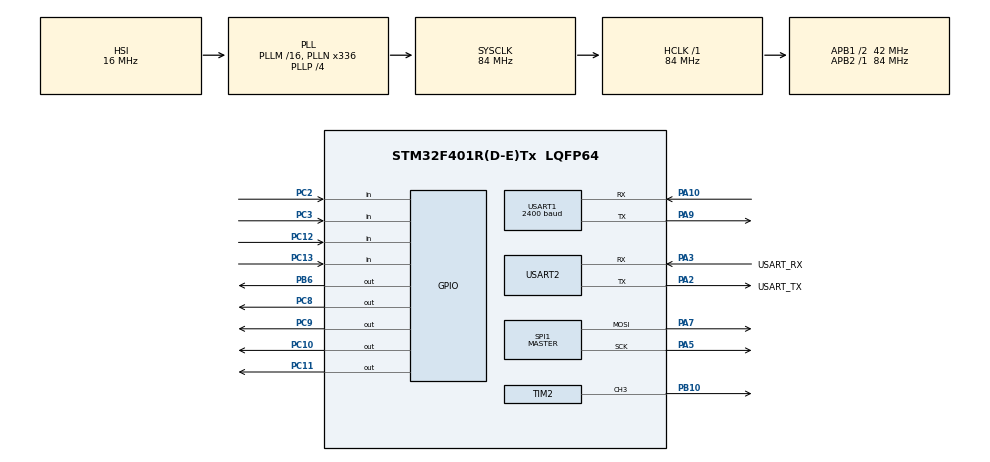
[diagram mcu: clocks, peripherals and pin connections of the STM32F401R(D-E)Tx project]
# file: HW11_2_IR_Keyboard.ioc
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Dma.Request0=SPI1_TX
Dma.SPI1_TX.0.Direction=DMA_MEMORY_TO_PERIPH
Dma.SPI1_TX.0.FIFOMode=DMA_FIFOMODE_DISABLE
Dma.SPI1_TX.0.Instance=DMA2_Stream3
Dma.SPI1_TX.0.MemDataAlignment=DMA_MDATAALIGN_BYTE
Dma.SPI1_TX.0.MemInc=DMA_MINC_ENABLE
Dma.SPI1_TX.0.Mode=DMA_NORMAL
Dma.SPI1_TX.0.PeriphDataAlignment=DMA_PDATAALIGN_BYTE
Dma.SPI1_TX.0.PeriphInc=DMA_PINC_DISABLE
Dma.SPI1_TX.0.Priority=DMA_PRIORITY_LOW
Mcu.Family=STM32F4
Mcu.Name=STM32F401R(D-E)Tx
Mcu.Package=LQFP64
NVIC.DMA2_Stream3_IRQn=true\:0\:0\:false\:false\:true\:false\:true\:true
NVIC.PriorityGroup=NVIC_PRIORITYGROUP_1
NVIC.SPI1_IRQn=true\:0\:0\:false\:false\:true\:true\:true\:true
NVIC.TIM1_UP_TIM10_IRQn=true\:0\:0\:false\:false\:true\:true\:true\:true
NVIC.TIM2_IRQn=true\:0\:0\:false\:false\:true\:true\:true\:true
NVIC.TIM3_IRQn=true\:0\:0\:false\:false\:true\:true\:true\:true
NVIC.TIM4_IRQn=true\:1\:0\:true\:false\:true\:true\:true\:true
NVIC.USART1_IRQn=true\:0\:0\:false\:false\:true\:true\:true\:true
NVIC.USART2_IRQn=true\:0\:0\:false\:false\:true\:true\:true\:true
PA10.Mode=Asynchronous
PA10.Signal=USART1_RX
PA13.GPIO_Label=TMS
PA13.Mode=Serial_Wire
PA13.Signal=SYS_JTMS-SWDIO
PA14.GPIO_Label=TCK
PA14.Mode=Serial_Wire
PA14.Signal=SYS_JTCK-SWCLK
PA2.GPIO_Label=USART_TX
PA2.GPIO_Mode=GPIO_MODE_AF_PP
PA2.GPIO_PuPd=GPIO_NOPULL
PA2.GPIO_Speed=GPIO_SPEED_FREQ_LOW
PA2.Mode=Asynchronous
PA2.Signal=USART2_TX
PA3.GPIO_Label=USART_RX
PA3.GPIO_Mode=GPIO_MODE_AF_PP
PA3.GPIO_PuPd=GPIO_NOPULL
PA3.GPIO_Speed=GPIO_SPEED_FREQ_LOW
PA3.Mode=Asynchronous
PA3.Signal=USART2_RX
PA5.Mode=TX_Only_Simplex_Unidirect_Master
PA5.Signal=SPI1_SCK
PA6.Signal=SPI1_MISO
PA7.Mode=TX_Only_Simplex_Unidirect_Master
PA7.Signal=SPI1_MOSI
PA9.Mode=Asynchronous
PA9.Signal=USART1_TX
PB10.Signal=S_TIM2_CH3
PB3.GPIO_Label=SWO
PB3.Signal=SYS_JTDO-SWO
PB6.Signal=GPIO_Output
PC10.Signal=GPIO_Output
PC11.Signal=GPIO_Output
PC12.Signal=GPIO_Input
PC13-ANTI_TAMP.Signal=GPIO_Input
PC14-OSC32_IN.Mode=LSE-External-Oscillator
PC14-OSC32_IN.Signal=RCC_OSC32_IN
PC15-OSC32_OUT.Mode=LSE-External-Oscillator
PC15-OSC32_OUT.Signal=RCC_OSC32_OUT
PC2.Signal=GPIO_Input
PC3.Signal=GPIO_Input
PC8.Signal=GPIO_Output
PC9.Signal=GPIO_Output
PH0\ -\ OSC_IN.Mode=HSE-External-Clock-Source
PH0\ -\ OSC_IN.Signal=RCC_OSC_IN
PH1\ -\ OSC_OUT.Mode=HSE-External-Clock-Source
PH1\ -\ OSC_OUT.Signal=RCC_OSC_OUT
ProjectManager.HeapSize=0x200
ProjectManager.StackSize=0x400
ProjectManager.TargetToolchain=STM32CubeIDE
RCC.48MHZClocksFreq_Value=48000000
RCC.AHBFreq_Value=84000000
RCC.APB1CLKDivider=RCC_HCLK_DIV2
RCC.APB1Freq_Value=42000000
RCC.APB1TimFreq_Value=84000000
RCC.APB2Freq_Value=84000000
RCC.APB2TimFreq_Value=84000000
RCC.CortexFreq_Value=84000000
RCC.HCLKFreq_Value=84000000
RCC.HSE_VALUE=8000000
RCC.HSI_VALUE=16000000
RCC.PLLN=336
RCC.PLLP=RCC_PLLP_DIV4
RCC.PLLQ=7
RCC.SYSCLKFreq_VALUE=84000000
RCC.SYSCLKSource=RCC_SYSCLKSOURCE_PLLCLK
RCC.VCOOutputFreq_Value=336000000
SH.S_TIM2_CH3.0=TIM2_CH3,PWM Generation3 CH3
SPI1.BaudRatePrescaler=SPI_BAUDRATEPRESCALER_4
SPI1.Direction=SPI_DIRECTION_2LINES
SPI1.Mode=SPI_MODE_MASTER
SPI1.VirtualType=VM_MASTER
TIM10.Period=4000
TIM10.Prescaler=84-1
TIM2.Channel-PWM\ Generation3\ CH3=TIM_CHANNEL_3
TIM2.OCMode_PWM-PWM\ Generation3\ CH3=TIM_OCMODE_PWM2
TIM2.Period=2211-1
TIM2.Prescaler=0
TIM2.Pulse-PWM\ Generation3\ CH3=1105
TIM3.Period=35000-1
TIM4.Period=4000
TIM4.Prescaler=84-1
USART1.BaudRate=2400
USART1.Mode=MODE_RX
USART1.VirtualMode=VM_ASYNC
USART2.VirtualMode=VM_ASYNC
VP_TIM10_VS_ClockSourceINT.Mode=Enable_Timer
VP_TIM2_VS_ClockSourceINT.Mode=Internal
VP_TIM3_VS_ClockSourceINT.Mode=Internal
VP_TIM4_VS_ClockSourceINT.Mode=Internal
board=NUCLEO-F401RE

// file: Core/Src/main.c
/* USER CODE BEGIN Header */
/**
  ******************************************************************************
  * @file           : main.c
  * @brief          : Main program body
  ******************************************************************************
  * @attention
  *
  * Copyright (c) 2022 STMicroelectronics.
  * All rights reserved.
  *
  * This software is licensed under terms that can be found in the LICENSE file
  * in the root directory of this software component.
  * If no LICENSE file comes with this software, it is provided AS-IS.
  *
  ******************************************************************************
  */
/* USER CODE END Header */
#include "main.h"

/* USER CODE BEGIN PD */
#define COL1 1
#define COL2 2
#define COL3 4
#define COL4 8
#define COL5 16

#define DEBOUNCE_TIME 1

//number of characters to be printed on the LED matrix
#define LENGTH 16

/* USER CODE END PD */

SPI_HandleTypeDef hspi1;
DMA_HandleTypeDef hdma_spi1_tx;

TIM_HandleTypeDef htim2;
TIM_HandleTypeDef htim3;
TIM_HandleTypeDef htim4;
TIM_HandleTypeDef htim10;

UART_HandleTypeDef huart1;
UART_HandleTypeDef huart2;

void SystemClock_Config(void);
static void MX_GPIO_Init(void);
static void MX_DMA_Init(void);
static void MX_USART2_UART_Init(void);
static void MX_TIM2_Init(void);
static void MX_TIM3_Init(void);
static void MX_USART1_UART_Init(void);
static void MX_TIM4_Init(void);
static void MX_SPI1_Init(void);
static void MX_TIM10_Init(void);

/* USER CODE BEGIN 0 */
/*
START : send a zero -> blink
STOP : send a 1 -> led off (no blinking)
TIM2CH3 -> 38kHz PWM, used to tranmsit '0'
TIM3 -> 2400 bps, handles IR transmission rate
TIM4 -> KEYBOARD_READOUT: generate pulse every 4 ms to scan the keyboard columns
TIM10 -> LED MATRIX: 4 s timer to switch between led matrix columns
*/

//KEYBOARD
//maps each key to his character
uint8_t keyboard_values[4][4] = {{0,1,2,3},{4,5,6,7},{8,9,10,11},{12,13,14,15}};

//Memorize all the used output pins: outputArray[0] = column0...
uint16_t outputArray[4] = {GPIO_PIN_8,GPIO_PIN_9,GPIO_PIN_10,GPIO_PIN_11};

//Memorize all used input pins: inputArray[0] = row0...
uint16_t inputArray[4] = {GPIO_PIN_12,GPIO_PIN_13,GPIO_PIN_2, GPIO_PIN_3};

uint32_t keypress[4][4];
uint32_t keypress_old[4][4];

//Memorize the debounce time for every button (1 by default)
uint16_t debounce_time[4][4];

int column;

//LED MATRIX
int led_columnIndex = 0;
//indicates the position in led_map of the character to show
int led_characterIndex = 0;

struct character{
	uint8_t row;
	uint8_t col;
};

struct character ZERO[] = {
	{62,COL1},
	{65,COL2},
	{65,COL3},
	{65,COL4},
	{62,COL5}
};

struct character ONE[] = {
	{0,COL1},
	{1,COL2},
	{127,COL3},
	{33,COL4},
	{0,COL5}
};

struct character TWO[] = {
	{49,COL1},
	{73,COL2},
	{69,COL3},
	{67,COL4},
	{49,COL5}
};

struct character THREE[] = {
	{62,COL1},
	{73,COL2},
	{73,COL3},
	{73,COL4},
	{0,COL5}
};

struct character FOUR[] = {
	{4,COL1},
	{127,COL2},
	{36,COL3},
	{20,COL4},
	{12,COL5}
};

struct character FIVE[] = {
	{70,COL1},
	{73,COL2},
	{73,COL3},
	{73,COL4},
	{121,COL5}
};

struct character SIX[] = {
	{70,COL1},
	{73,COL2},
	{73,COL3},
	{73,COL4},
	{62,COL5}
};

struct character SEVEN[] = {
	{8,COL1},
	{104,COL2},
	{95,COL3},
	{72,COL4},
	{72,COL5}
};

struct character EIGHT[] = {
	{54,COL1},
	{73,COL2},
	{73,COL3},
	{73,COL4},
	{54,COL5}
};

struct character NINE[] = {
	{63,COL1},
	{73,COL2},
	{73,COL3},
	{73,COL4},
	{49,COL5}
};

struct character A[] = {
	{31,COL1},
	{36,COL2},
	{68,COL3},
	{36,COL4},
	{31,COL5}
};

struct character B[] = {
	{62,COL1},
	{73,COL2},
	{73,COL3},
	{73,COL4},
	{127,COL5}
};

struct character C[] = {
	{65,COL1},
	{65,COL2},
	{65,COL3},
	{65,COL4},
	{62,COL5}
};
struct character D[] = {
	{62,COL1},
	{65,COL2},
	{65,COL3},
	{65,COL4},
	{127,COL5}
};
struct character E[] = {
	{73,COL1},
	{73,COL2},
	{73,COL3},
	{73,COL4},
	{127,COL5}
};
struct character F[] = {
	{72,COL1},
	{72,COL2},
	{72,COL3},
	{72,COL4},
	{127,COL5}
};

//collection of characters to be printed: led_map[0] -> show 0 on the led matrix...
struct character *led_map[LENGTH];

//8 bit received data
char receivedByte;

//flag that indicates when a baud period has elapsed
int elapsedBaud = 0;

void IRByteTransmit(char byte){

	int bits[8];
	//convert byte into bit
	//bits[0] = LSB
	for(int i = 0; i < 8; i++){
		if((byte & (0x01 << i)) == 0)
			//Send a zero
			bits[i] = 0;
		else
			//send a '1'
			bits[i] = 1;
	}

	  //Start the baud rate counter (2400bps)
	  elapsedBaud = 1;
	  HAL_TIM_Base_Start_IT(&htim3);
	  while(elapsedBaud == 0){
		  //wait one baud period to sync -> useful for the first transmission after startup
	  }

	  //transmit START signal ('0')
	  HAL_TIM_PWM_Start(&htim2, TIM_CHANNEL_3);
	  elapsedBaud = 0;
	  while(elapsedBaud == 0){
		  //wait for a baud period
	  }

	  //transmit the bits
	  for(int i = 0; i < 8; i ++){
		  if(bits[i] == 0){
			  //send a zero -> start PWM
			  HAL_TIM_PWM_Start(&htim2, TIM_CHANNEL_3);
		  }
		  else{
			  //send a '1' -> stop PWM
			  HAL_TIM_PWM_Stop(&htim2, TIM_CHANNEL_3);
		  }
		  elapsedBaud = 0;
		  while(elapsedBaud == 0){
			  //wait for a baud period
		  }
	  }

	  //Send the Stop bit '1'
	  HAL_TIM_PWM_Stop(&htim2, TIM_CHANNEL_3);
	  while(elapsedBaud == 0){
		  //wait for a baud period
	  }

	  //stop timer for baud rate
	  HAL_TIM_Base_Stop_IT(&htim3);
	  elapsedBaud = 0;

}

//Changes the character to print on the led matrix to the one received from usart1
void HAL_UART_RxCpltCallback(UART_HandleTypeDef *huart){

	if(huart == &huart1){
		//Return waiting for incoming transmissions
		HAL_UART_Receive_IT(&huart1, (uint8_t*)&receivedByte, 1);

		//Save received data
		char RX = receivedByte;

		//set the character to show on the LED matrix
		led_characterIndex = RX;

		/*int len;
		char str[64];	//tramsit UART2 to check
		len = snprintf(str, sizeof(str), "Button pressed: %x \r\n", RX);
		HAL_UART_Transmit(&huart2, str, len, 50);
		*/
	}
}

void HAL_TIM_PeriodElapsedCallback(TIM_HandleTypeDef *htim){

	if(htim == &htim3){		//baud rate timer
		elapsedBaud = 1;
	}

	if(htim == &htim10){	//change column on led matrix
		HAL_SPI_Transmit_DMA(&hspi1,(uint8_t*)(led_map[led_characterIndex] + led_columnIndex) , 2);
	}

	if(htim == &htim4){		//read keyboard column timer, TIM4 has priority set to 1 (lower)
		//scan through rows
	  for(int row = 0; row < 4; row ++){
			if(debounce_time[row][column] == 0){
				//if the debounce time for this button has ended
				//read and store the state of the button: 1->pressed, 0-> not pressed
				if(HAL_GPIO_ReadPin(GPIOC, inputArray[row]) == SET)
					keypress[row][column] = 0;
				else
					keypress[row][column] = 1;

				//if the state of the button has changed from the previous one
				if(keypress[row][column] != keypress_old[row][column]){

					//if the button toggled from 0 to 1 then transmit the character
					if(keypress[row][column] == 1){
						IRByteTransmit(keyboard_values[row][column]);
					}

					//update the old keypress
					keypress_old[row][column] = keypress[row][column];

					//reset debounce for the updated button
					debounce_time[row][column] = DEBOUNCE_TIME;
				}
			}
			else{
				//decrease debounce time
				debounce_time[row][column]--;
			}
		}
		//turn off the column
		HAL_GPIO_WritePin(GPIOC, outputArray[column],RESET);

		//update the column index
		if(column == 3)
			column = 0;
		else
			column++;

		//turn on the new column
		HAL_GPIO_WritePin(GPIOC, outputArray[column],SET);
	}

}

void HAL_SPI_TxCpltCallback(SPI_HandleTypeDef *hspi)
{
	if(hspi == &hspi1){
		//set after SPI transmission
		HAL_GPIO_WritePin(GPIOB, GPIO_PIN_6, 1);

		if(led_columnIndex == 4)
			led_columnIndex = 0;
		else
			led_columnIndex ++;

		//reset (pulse)
		HAL_GPIO_WritePin(GPIOB, GPIO_PIN_6, 0);
		//restart timer
		HAL_TIM_Base_Start_IT(&htim10);

	}
}

/* USER CODE END 0 */

int main(void)
{

  /* MCU Configuration--------------------------------------------------------*/

  /* Reset of all peripherals, Initializes the Flash interface and the Systick. */
  HAL_Init();

  /* Configure the system clock */
  SystemClock_Config();

  /* Initialize all configured peripherals */
  MX_GPIO_Init();
  MX_DMA_Init();
  MX_USART2_UART_Init();
  MX_TIM2_Init();
  MX_TIM3_Init();
  MX_USART1_UART_Init();
  MX_TIM4_Init();
  MX_SPI1_Init();
  MX_TIM10_Init();
  /* USER CODE BEGIN 2 */

  //set the encoding for received characters
  led_map[0] = ZERO;
  led_map[1] = ONE;
  led_map[2] = TWO;
  led_map[3] = THREE;
  led_map[4] = FOUR;
  led_map[5] = FIVE;
  led_map[6] = SIX;
  led_map[7] = SEVEN;
  led_map[8] = EIGHT;
  led_map[9] = NINE;
  led_map[10] = A;
  led_map[11] = B;
  led_map[12] = C;
  led_map[13] = D;
  led_map[14] = E;
  led_map[15] = F;

  //start LED column timer
  HAL_TIM_Base_Start_IT(&htim10);

  //Init keyboard
  HAL_GPIO_WritePin(GPIOC, outputArray[0], SET);
  HAL_GPIO_WritePin(GPIOC, outputArray[1], RESET);
  HAL_GPIO_WritePin(GPIOC, outputArray[2], RESET);
  HAL_GPIO_WritePin(GPIOC, outputArray[3], RESET);
  //start keyboard column timer
  HAL_TIM_Base_Start_IT(&htim4);

  //enable receiving
  HAL_UART_Receive_IT(&huart1, (uint8_t*)&receivedByte, 1);

  /* USER CODE END 2 */

  /* Infinite loop */
  while (1)
  {

  }
}

void SystemClock_Config(void)
{
  RCC_OscInitTypeDef RCC_OscInitStruct = {0};
  RCC_ClkInitTypeDef RCC_ClkInitStruct = {0};

  /** Configure the main internal regulator output voltage
  */
  __HAL_RCC_PWR_CLK_ENABLE();
  __HAL_PWR_VOLTAGESCALING_CONFIG(PWR_REGULATOR_VOLTAGE_SCALE2);

  /** Initializes the RCC Oscillators according to the specified parameters
  * in the RCC_OscInitTypeDef structure.
  */
  RCC_OscInitStruct.OscillatorType = RCC_OSCILLATORTYPE_HSI;
  RCC_OscInitStruct.HSIState = RCC_HSI_ON;
  RCC_OscInitStruct.HSICalibrationValue = RCC_HSICALIBRATION_DEFAULT;
  RCC_OscInitStruct.PLL.PLLState = RCC_PLL_ON;
  RCC_OscInitStruct.PLL.PLLSource = RCC_PLLSOURCE_HSI;
  RCC_OscInitStruct.PLL.PLLM = 16;
  RCC_OscInitStruct.PLL.PLLN = 336;
  RCC_OscInitStruct.PLL.PLLP = RCC_PLLP_DIV4;
  RCC_OscInitStruct.PLL.PLLQ = 7;
  if (HAL_RCC_OscConfig(&RCC_OscInitStruct) != HAL_OK)
  {
    Error_Handler();
  }

  /** Initializes the CPU, AHB and APB buses clocks
  */
  RCC_ClkInitStruct.ClockType = RCC_CLOCKTYPE_HCLK|RCC_CLOCKTYPE_SYSCLK
                              |RCC_CLOCKTYPE_PCLK1|RCC_CLOCKTYPE_PCLK2;
  RCC_ClkInitStruct.SYSCLKSource = RCC_SYSCLKSOURCE_PLLCLK;
  RCC_ClkInitStruct.AHBCLKDivider = RCC_SYSCLK_DIV1;
  RCC_ClkInitStruct.APB1CLKDivider = RCC_HCLK_DIV2;
  RCC_ClkInitStruct.APB2CLKDivider = RCC_HCLK_DIV1;

  if (HAL_RCC_ClockConfig(&RCC_ClkInitStruct, FLASH_LATENCY_2) != HAL_OK)
  {
    Error_Handler();
  }
}

static void MX_SPI1_Init(void)
{

  /* SPI1 parameter configuration*/
  hspi1.Instance = SPI1;
  hspi1.Init.Mode = SPI_MODE_MASTER;
  hspi1.Init.Direction = SPI_DIRECTION_2LINES;
  hspi1.Init.DataSize = SPI_DATASIZE_8BIT;
  hspi1.Init.CLKPolarity = SPI_POLARITY_LOW;
  hspi1.Init.CLKPhase = SPI_PHASE_1EDGE;
  hspi1.Init.NSS = SPI_NSS_SOFT;
  hspi1.Init.BaudRatePrescaler = SPI_BAUDRATEPRESCALER_4;
  hspi1.Init.FirstBit = SPI_FIRSTBIT_MSB;
  hspi1.Init.TIMode = SPI_TIMODE_DISABLE;
  hspi1.Init.CRCCalculation = SPI_CRCCALCULATION_DISABLE;
  hspi1.Init.CRCPolynomial = 10;
  if (HAL_SPI_Init(&hspi1) != HAL_OK)
  {
    Error_Handler();
  }

}

static void MX_TIM2_Init(void)
{

  TIM_ClockConfigTypeDef sClockSourceConfig = {0};
  TIM_MasterConfigTypeDef sMasterConfig = {0};
  TIM_OC_InitTypeDef sConfigOC = {0};

  htim2.Instance = TIM2;
  htim2.Init.Prescaler = 0;
  htim2.Init.CounterMode = TIM_COUNTERMODE_UP;
  htim2.Init.Period = 2211-1;
  htim2.Init.ClockDivision = TIM_CLOCKDIVISION_DIV1;
  htim2.Init.AutoReloadPreload = TIM_AUTORELOAD_PRELOAD_DISABLE;
  if (HAL_TIM_Base_Init(&htim2) != HAL_OK)
  {
    Error_Handler();
  }
  sClockSourceConfig.ClockSource = TIM_CLOCKSOURCE_INTERNAL;
  if (HAL_TIM_ConfigClockSource(&htim2, &sClockSourceConfig) != HAL_OK)
  {
    Error_Handler();
  }
  if (HAL_TIM_PWM_Init(&htim2) != HAL_OK)
  {
    Error_Handler();
  }
  sMasterConfig.MasterOutputTrigger = TIM_TRGO_RESET;
  sMasterConfig.MasterSlaveMode = TIM_MASTERSLAVEMODE_DISABLE;
  if (HAL_TIMEx_MasterConfigSynchronization(&htim2, &sMasterConfig) != HAL_OK)
  {
    Error_Handler();
  }
  sConfigOC.OCMode = TIM_OCMODE_PWM2;
  sConfigOC.Pulse = 1105;
  sConfigOC.OCPolarity = TIM_OCPOLARITY_HIGH;
  sConfigOC.OCFastMode = TIM_OCFAST_DISABLE;
  if (HAL_TIM_PWM_ConfigChannel(&htim2, &sConfigOC, TIM_CHANNEL_3) != HAL_OK)
  {
    Error_Handler();
  }
  HAL_TIM_MspPostInit(&htim2);

}

static void MX_TIM3_Init(void)
{

  TIM_ClockConfigTypeDef sClockSourceConfig = {0};
  TIM_MasterConfigTypeDef sMasterConfig = {0};

  htim3.Instance = TIM3;
  htim3.Init.Prescaler = 0;
  htim3.Init.CounterMode = TIM_COUNTERMODE_UP;
  htim3.Init.Period = 35000-1;
  htim3.Init.ClockDivision = TIM_CLOCKDIVISION_DIV1;
  htim3.Init.AutoReloadPreload = TIM_AUTORELOAD_PRELOAD_DISABLE;
  if (HAL_TIM_Base_Init(&htim3) != HAL_OK)
  {
    Error_Handler();
  }
  sClockSourceConfig.ClockSource = TIM_CLOCKSOURCE_INTERNAL;
  if (HAL_TIM_ConfigClockSource(&htim3, &sClockSourceConfig) != HAL_OK)
  {
    Error_Handler();
  }
  sMasterConfig.MasterOutputTrigger = TIM_TRGO_RESET;
  sMasterConfig.MasterSlaveMode = TIM_MASTERSLAVEMODE_DISABLE;
  if (HAL_TIMEx_MasterConfigSynchronization(&htim3, &sMasterConfig) != HAL_OK)
  {
    Error_Handler();
  }

}

static void MX_TIM4_Init(void)
{

  TIM_ClockConfigTypeDef sClockSourceConfig = {0};
  TIM_MasterConfigTypeDef sMasterConfig = {0};

  htim4.Instance = TIM4;
  htim4.Init.Prescaler = 84-1;
  htim4.Init.CounterMode = TIM_COUNTERMODE_UP;
  htim4.Init.Period = 4000;
  htim4.Init.ClockDivision = TIM_CLOCKDIVISION_DIV1;
  htim4.Init.AutoReloadPreload = TIM_AUTORELOAD_PRELOAD_DISABLE;
  if (HAL_TIM_Base_Init(&htim4) != HAL_OK)
  {
    Error_Handler();
  }
  sClockSourceConfig.ClockSource = TIM_CLOCKSOURCE_INTERNAL;
  if (HAL_TIM_ConfigClockSource(&htim4, &sClockSourceConfig) != HAL_OK)
  {
    Error_Handler();
  }
  sMasterConfig.MasterOutputTrigger = TIM_TRGO_RESET;
  sMasterConfig.MasterSlaveMode = TIM_MASTERSLAVEMODE_DISABLE;
  if (HAL_TIMEx_MasterConfigSynchronization(&htim4, &sMasterConfig) != HAL_OK)
  {
    Error_Handler();
  }

}

static void MX_TIM10_Init(void)
{

  htim10.Instance = TIM10;
  htim10.Init.Prescaler = 84-1;
  htim10.Init.CounterMode = TIM_COUNTERMODE_UP;
  htim10.Init.Period = 4000;
  htim10.Init.ClockDivision = TIM_CLOCKDIVISION_DIV1;
  htim10.Init.AutoReloadPreload = TIM_AUTORELOAD_PRELOAD_DISABLE;
  if (HAL_TIM_Base_Init(&htim10) != HAL_OK)
  {
    Error_Handler();
  }

}

static void MX_USART1_UART_Init(void)
{

  huart1.Instance = USART1;
  huart1.Init.BaudRate = 2400;
  huart1.Init.WordLength = UART_WORDLENGTH_8B;
  huart1.Init.StopBits = UART_STOPBITS_1;
  huart1.Init.Parity = UART_PARITY_NONE;
  huart1.Init.Mode = UART_MODE_RX;
  huart1.Init.HwFlowCtl = UART_HWCONTROL_NONE;
  huart1.Init.OverSampling = UART_OVERSAMPLING_16;
  if (HAL_UART_Init(&huart1) != HAL_OK)
  {
    Error_Handler();
  }

}

static void MX_USART2_UART_Init(void)
{

  huart2.Instance = USART2;
  huart2.Init.BaudRate = 115200;
  huart2.Init.WordLength = UART_WORDLENGTH_8B;
  huart2.Init.StopBits = UART_STOPBITS_1;
  huart2.Init.Parity = UART_PARITY_NONE;
  huart2.Init.Mode = UART_MODE_TX_RX;
  huart2.Init.HwFlowCtl = UART_HWCONTROL_NONE;
  huart2.Init.OverSampling = UART_OVERSAMPLING_16;
  if (HAL_UART_Init(&huart2) != HAL_OK)
  {
    Error_Handler();
  }

}

static void MX_DMA_Init(void)
{

  /* DMA controller clock enable */
  __HAL_RCC_DMA2_CLK_ENABLE();

  /* DMA interrupt init */
  /* DMA2_Stream3_IRQn interrupt configuration */
  HAL_NVIC_SetPriority(DMA2_Stream3_IRQn, 0, 0);
  HAL_NVIC_EnableIRQ(DMA2_Stream3_IRQn);

}

static void MX_GPIO_Init(void)
{
  GPIO_InitTypeDef GPIO_InitStruct = {0};

  /* GPIO Ports Clock Enable */
  __HAL_RCC_GPIOC_CLK_ENABLE();
  __HAL_RCC_GPIOH_CLK_ENABLE();
  __HAL_RCC_GPIOA_CLK_ENABLE();
  __HAL_RCC_GPIOB_CLK_ENABLE();

  /*Configure GPIO pin Output Level */
  HAL_GPIO_WritePin(GPIOC, GPIO_PIN_8|GPIO_PIN_9|GPIO_PIN_10|GPIO_PIN_11, GPIO_PIN_RESET);

  /*Configure GPIO pin Output Level */
  HAL_GPIO_WritePin(GPIOB, GPIO_PIN_6, GPIO_PIN_RESET);

  /*Configure GPIO pins : PC13 PC2 PC3 PC12 */
  GPIO_InitStruct.Pin = GPIO_PIN_13|GPIO_PIN_2|GPIO_PIN_3|GPIO_PIN_12;
  GPIO_InitStruct.Mode = GPIO_MODE_INPUT;
  GPIO_InitStruct.Pull = GPIO_NOPULL;
  HAL_GPIO_Init(GPIOC, &GPIO_InitStruct);

  /*Configure GPIO pins : PC8 PC9 PC10 PC11 */
  GPIO_InitStruct.Pin = GPIO_PIN_8|GPIO_PIN_9|GPIO_PIN_10|GPIO_PIN_11;
  GPIO_InitStruct.Mode = GPIO_MODE_OUTPUT_PP;
  GPIO_InitStruct.Pull = GPIO_NOPULL;
  GPIO_InitStruct.Speed = GPIO_SPEED_FREQ_LOW;
  HAL_GPIO_Init(GPIOC, &GPIO_InitStruct);

  /*Configure GPIO pin : PB6 */
  GPIO_InitStruct.Pin = GPIO_PIN_6;
  GPIO_InitStruct.Mode = GPIO_MODE_OUTPUT_PP;
  GPIO_InitStruct.Pull = GPIO_NOPULL;
  GPIO_InitStruct.Speed = GPIO_SPEED_FREQ_LOW;
  HAL_GPIO_Init(GPIOB, &GPIO_InitStruct);

}

void Error_Handler(void)
{
  __disable_irq();
  while (1)
  {
  }
}
